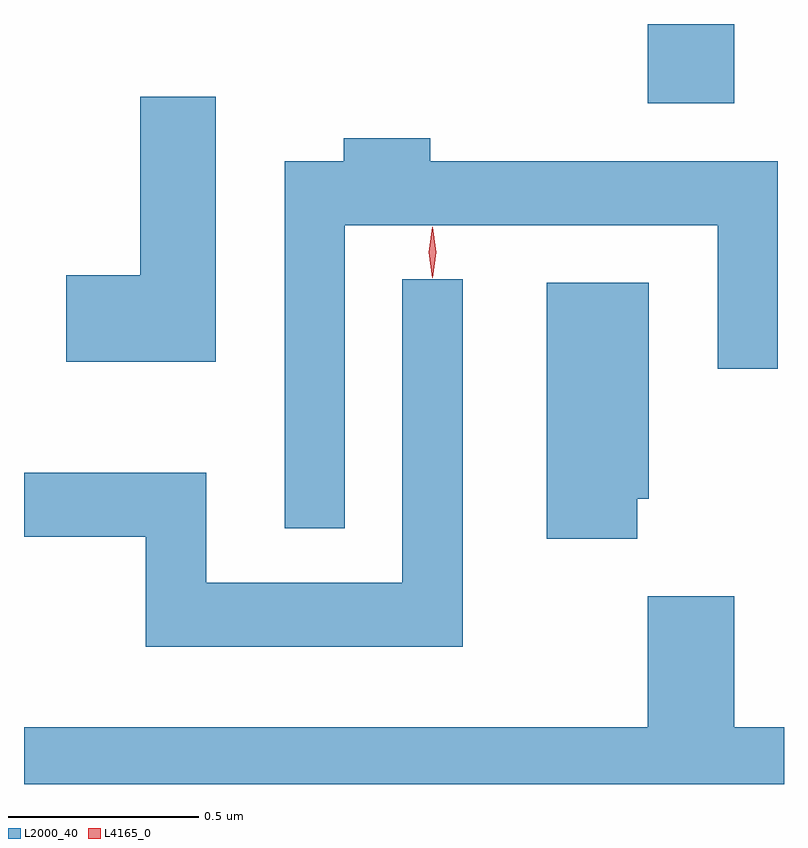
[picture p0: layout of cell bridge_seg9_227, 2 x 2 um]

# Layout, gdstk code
import gdstk
lib = gdstk.Library(unit=1e-6, precision=1e-09)
def R(c, l, rs):  # rectangles x0, y0, x1, y1
    for r in rs: c.add(gdstk.rectangle(r[:2], r[2:], *l))
def P(c, l, *ps):  # polygons
    for p in ps: c.add(gdstk.Polygon(p, *l))
L2000_40 = (2000, 40)
L4165_0 = (4165, 0)

bridge_seg9_227 = lib.new_cell('bridge_seg9_227')
R(bridge_seg9_227, L2000_40, [(1484.621,1982.626,1484.849,1982.835)])
P(bridge_seg9_227, L2000_40, [(1483.484,1982.644),(1483.286,1982.644),(1483.286,1982.174),(1483.091,1982.174),(1483.091,1981.946),(1483.484,1981.946)],
  [(1483.824,1982.306),(1484.806,1982.306),(1484.806,1981.928),(1484.964,1981.928),(1484.964,1982.474),(1484.049,1982.474),(1484.049,1982.534),(1483.821,1982.534),(1483.821,1982.474),(1483.666,1982.474),(1483.666,1981.508),(1483.824,1981.508)],
  [(1484.134,1982.163),(1483.976,1982.163),(1483.976,1981.364),(1483.459,1981.364),(1483.459,1981.654),(1482.98,1981.654),(1482.98,1981.486),(1483.301,1981.486),(1483.301,1981.196),(1484.134,1981.196)],
  [(1484.594,1981.586),(1484.624,1981.586),(1484.624,1982.154),(1484.356,1982.154),(1484.356,1981.481),(1484.594,1981.481)],
  [(1484.621,1981.329),(1484.621,1980.984),(1482.98,1980.984),(1482.98,1980.835),(1484.98,1980.835),(1484.98,1980.984),(1484.849,1980.984),(1484.849,1981.329)])
P(bridge_seg9_227, L4165_0, [(1484.054,1982.167),(1484.045,1982.234),(1484.054,1982.3),(1484.055,1982.301),(1484.055,1982.3),(1484.065,1982.234),(1484.055,1982.167),(1484.055,1982.167)])

lib.write_gds('bridge_seg9_227.gds')
